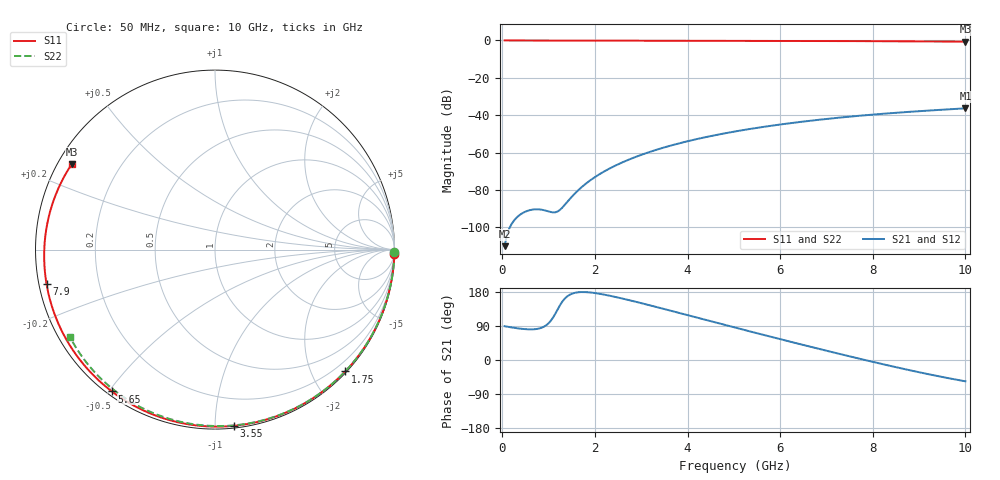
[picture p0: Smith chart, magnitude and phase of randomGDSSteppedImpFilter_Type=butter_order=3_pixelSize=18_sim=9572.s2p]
! freq	dB(S11)	phase(S11)	dB(S12)	phase(S12)
!  dB(S21)	phase(S21)	dB(S22)	phase(S22)
!S-par simulation data
#  GHz  S  DB  R 50
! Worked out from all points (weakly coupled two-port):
!   200 points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, 50 MHz to 10 GHz, reference 50 ohm
!   highest |S21| = -36.30 dB at 10 GHz (marker M1); lowest = -110.0 dB at 50 MHz (marker M2)
!   lowest |S11| = -0.6 dB at 10 GHz (marker M3), VSWR 27.45, Z = 1.96 + j13.7 ohm
!   |S11| at or under -10 dB: nowhere
!   |S22| runs from -0.5 to 0.0 dB; largest |S21 - S12| = 0
!   S11 on the Smith chart (normalised r, x): 50 MHz: 0, -90; 1.75 GHz: 0.02, -2.53; 3.55 GHz: 0.01, -1.12; 5.65 GHz: 0.01, -0.51; 7.9 GHz: 0.02, -0.10; 10 GHz: 0.04, +0.27
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0.05  -0.00 -1.3  -110.00 89.2  -110.00 89.2  -0.00 -0.9
0.4  -0.01 -10.0  -92.89 82.5  -92.89 82.5  -0.01 -6.9
0.8  -0.03 -20.0  -90.34 83.2  -90.34 83.2  -0.02 -13.7
1.2  -0.04 -29.8  -91.39 134.6  -91.39 134.6  -0.03 -20.5
1.6  -0.05 -39.5  -81.03 178.1  -81.03 178.1  -0.03 -27.2
1.65  -0.05 -40.7  -79.85 178.9  -79.85 178.9  -0.04 -28.1
1.75  -0.05 -43.1  -77.66 179.4  -77.66 179.4  -0.04 -29.7
2.05  -0.06 -50.2  -72.27 175.8  -72.27 175.8  -0.04 -34.7
2.45  -0.07 -59.4  -66.82 166.2  -66.82 166.2  -0.05 -41.3
2.9  -0.09 -69.6  -62.09 153.1  -62.09 153.1  -0.06 -48.5
3.4  -0.10 -80.5  -57.91 137.6  -57.91 137.6  -0.08 -56.5
3.55  -0.11 -83.8  -56.82 132.8  -56.82 132.8  -0.08 -58.8
4.3  -0.14 -99.4  -52.19 108.8  -52.19 108.8  -0.10 -70.3
5.05  -0.17 -114.4  -48.56 84.9  -48.56 84.9  -0.13 -81.5
5.65  -0.20 -126.0  -46.17 65.9  -46.17 65.9  -0.15 -90.2
6.2  -0.24 -136.5  -44.29 48.9  -44.29 48.9  -0.18 -97.9
6.7  -0.27 -145.8  -42.79 33.6  -42.79 33.6  -0.20 -104.8
7.3  -0.32 -157.1  -41.22 15.5  -41.22 15.5  -0.24 -113.0
7.9  -0.37 -168.3  -39.85 -2.0  -39.85 -2.0  -0.29 -121.0
8.35  -0.42 -176.9  -38.95 -14.8  -38.95 -14.8  -0.33 -127.0
9.2  -0.52 166.2  -37.50 -37.4  -37.50 -37.4  -0.41 -138.2
10  -0.63 149.2  -36.30 -56.2  -36.30 -56.2  -0.50 -148.7
